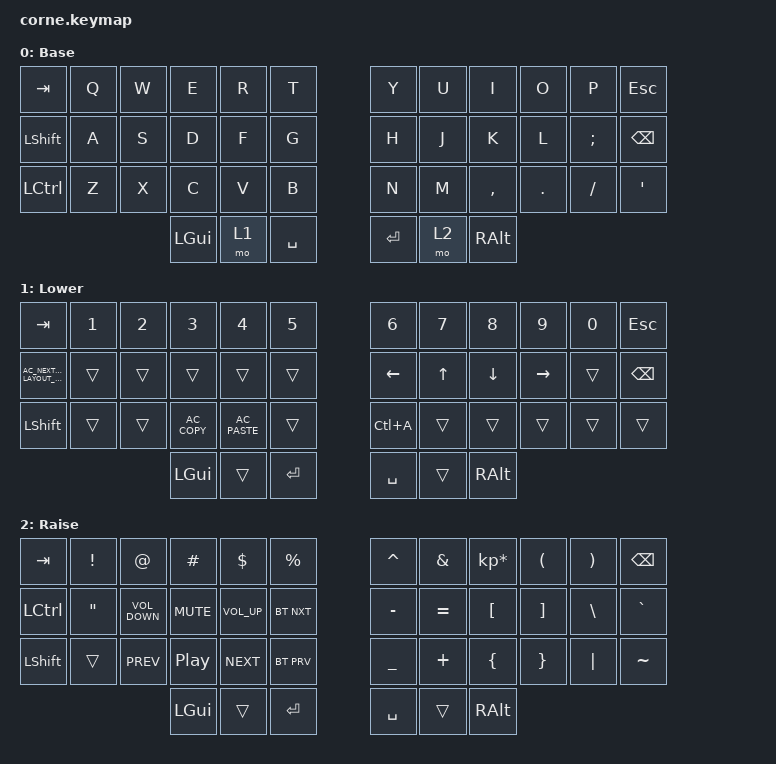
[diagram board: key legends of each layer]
/*
 * Copyright (c) 2020 The ZMK Contributors
 *
 * SPDX-License-Identifier: MIT
 */

#include <behaviors.dtsi>
#include <dt-bindings/zmk/bt.h>
#include <dt-bindings/zmk/keys.h>

/ {
    keymap {
        compatible = "zmk,keymap";

        default_layer {
            // -----------------------------------------------------------------------------------------
            // |  TAB |  Q  |  W  |  E  |  R  |  T  |   |  Y  |  U   |  I  |  O  |  P  | BKSP |
            // | CTRL |  A  |  S  |  D  |  F  |  G  |   |  H  |  J   |  K  |  L  |  ;  |  '   |
            // | SHFT |  Z  |  X  |  C  |  V  |  B  |   |  N  |  M   |  ,  |  .  |  /  | ESC  |
            //                    | GUI | LWR | SPC |   | ENT | RSE  | ALT |

            display-name = "Base";
            bindings = <
&kp TAB     &kp Q  &kp W  &kp E     &kp R  &kp T        &kp Y    &kp U  &kp I      &kp O    &kp P     &kp ESC
&kp LSHIFT  &kp A  &kp S  &kp D     &kp F  &kp G        &kp H    &kp J  &kp K      &kp L    &kp SEMI  &kp BSPC
&kp LCTRL   &kp Z  &kp X  &kp C     &kp V  &kp B        &kp N    &kp M  &kp COMMA  &kp DOT  &kp FSLH  &kp SQT
                          &kp LGUI  &mo 1  &kp SPACE    &kp RET  &mo 2  &kp RALT
            >;
        };

        lower_layer {
            // -----------------------------------------------------------------------------------------
            // |  TAB |  1  |  2  |  3  |  4  |  5  |   |  6  |  7  |  8  |  9  |  0  | BKSP |
            // | BTCLR| BT1 | BT2 | BT3 | BT4 | BT5 |   | LFT | DWN |  UP | RGT |     |      |
            // | SHFT |     |     |     |     |     |   |     |     |     |     |     |      |
            //                    | GUI |     | SPC |   | ENT |     | ALT |

            display-name = "Lower";
            bindings = <
&kp TAB                               &kp N1  &kp N2  &kp N3         &kp N4          &kp N5     &kp N6     &kp N7        &kp N8          &kp N9     &kp N0  &kp ESC
&kp C_AC_NEXT_KEYBOARD_LAYOUT_SELECT  &trans  &trans  &trans         &trans          &trans     &kp LEFT   &kp UP_ARROW  &kp DOWN_ARROW  &kp RIGHT  &trans  &kp BSPC
&kp LSHFT                             &trans  &trans  &kp C_AC_COPY  &kp C_AC_PASTE  &trans     &kp LC(A)  &trans        &trans          &trans     &trans  &trans
                                                      &kp LGUI       &trans          &kp RET    &kp SPACE  &trans        &kp RALT
            >;
        };

        raise_layer {
            // -----------------------------------------------------------------------------------------
            // |  TAB |  !  |  @  |  #  |  $  |  %  |   |  ^  |  &  |  *  |  (  |  )  | BKSP |
            // | CTRL |     |     |     |     |     |   |  -  |  =  |  [  |  ]  |  \  |  `   |
            // | SHFT |     |     |     |     |     |   |  _  |  +  |  {  |  }  | "|" |  ~   |
            //                    | GUI |     | SPC |   | ENT |     | ALT |

            display-name = "Raise";
            bindings = <
&kp TAB    &kp EXCL           &kp AT             &kp HASH          &kp DLLR         &kp PRCNT     &kp CARET  &kp AMPS   &kp KP_MULTIPLY  &kp LPAR  &kp RPAR  &kp BSPC
&kp LCTRL  &kp DOUBLE_QUOTES  &kp C_VOLUME_DOWN  &kp C_MUTE        &kp C_VOLUME_UP  &bt BT_NXT    &kp MINUS  &kp EQUAL  &kp LBKT         &kp RBKT  &kp BSLH  &kp GRAVE
&kp LSHFT  &trans             &kp C_PREV         &kp C_PLAY_PAUSE  &kp C_NEXT       &bt BT_PRV    &kp UNDER  &kp PLUS   &kp LBRC         &kp RBRC  &kp PIPE  &kp TILDE
                                                 &kp LGUI          &trans           &kp RET       &kp SPACE  &trans     &kp RALT
            >;
        };

        extra_1 { status = "reserved"; };

        extra_2 { status = "reserved"; };

        extra_3 { status = "reserved"; };
    };
};
